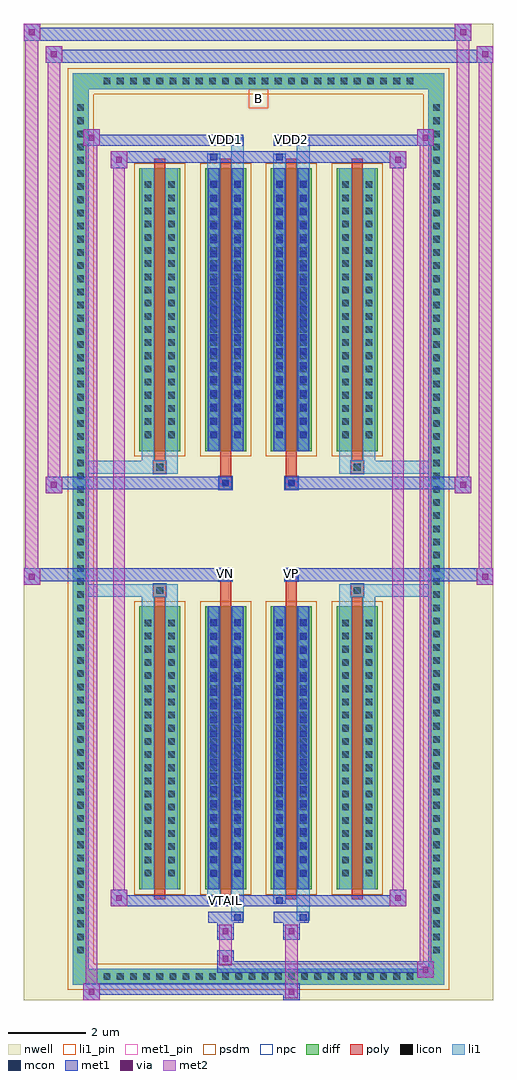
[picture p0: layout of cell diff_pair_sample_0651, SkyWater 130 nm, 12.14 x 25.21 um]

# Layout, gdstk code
import gdstk
lib = gdstk.Library(unit=1e-6, precision=5e-09)
def R(c, l, rs):  # rectangles x0, y0, x1, y1
    for r in rs: c.add(gdstk.rectangle(r[:2], r[2:], *l))
def A(c, l, x, y, w, h, nx, ny, dx, dy):  # array of equal rectangles
    R(c, l, [(x+i*dx, y+j*dy, x+i*dx+w, y+j*dy+h) for i in range(nx) for j in range(ny)])
def P(c, l, *ps):  # polygons
    for p in ps: c.add(gdstk.Polygon(p, *l))
nwell = (64, 20)
diff = (65, 20)
poly = (66, 20)
licon = (66, 44)
li1_pin = (67, 16)
li1 = (67, 20)
mcon = (67, 44)
met1_pin = (68, 16)
met1 = (68, 20)
via = (68, 44)
met2 = (69, 20)
psdm = (94, 20)
npc = (95, 20)

diff_pair_sample_0651 = lib.new_cell('diff_pair_sample_0651')
R(diff_pair_sample_0651, nwell, [(-6.07,-12.17,6.07,13.04), (-3.39,-10.36,-0.01,-0.82), (0.01,-10.36,3.39,-0.82), (-3.39,0.82,-0.01,10.36), (0.01,0.82,3.39,10.36)])
A(diff_pair_sample_0651, diff, -4.115, -11.77, 0.41, 0.41, 24, 2, 0.34, 23.13)
A(diff_pair_sample_0651, diff, -4.8, -11.085, 0.41, 0.41, 1, 65, 0, 0.34)
A(diff_pair_sample_0651, diff, 4.39, -11.085, 0.41, 0.41, 1, 65, 0, 0.34)
A(diff_pair_sample_0651, diff, -3.08, -9.315, 1.06, 7.31, 4, 2, 1.7, 11.32)
R(diff_pair_sample_0651, diff, [(-4.115,-11.77,4.115,-11.36), (-4.8,-11.085,-4.39,11.085), (4.39,-11.085,4.8,11.085), (-4.115,11.36,4.115,11.77)])
P(diff_pair_sample_0651, diff, [(4.8,11.77),(-4.8,11.77),(-4.8,-11.36),(-4.39,-11.36),(-4.39,11.36),(4.39,11.36),(4.39,-11.36),(-4.39,-11.36),(-4.8,-11.36),(-4.8,-11.77),(4.8,-11.77)])
A(diff_pair_sample_0651, poly, -2.69, -9.565, 0.28, 7.81, 4, 2, 1.7, 11.32)
R(diff_pair_sample_0651, poly, [(-2.715,-1.755,-2.385,-1.425), (-2.715,-1.755,-2.385,-1.425), (-0.99,-1.755,-0.71,-1.35), (0.71,-1.755,0.99,-1.35), (2.385,-1.755,2.715,-1.425), (2.385,-1.755,2.715,-1.425), (-1.015,-1.35,-0.685,-1.02), (-1.015,-1.35,-0.685,-1.02), (0.685,-1.35,1.015,-1.02), (0.685,-1.35,1.015,-1.02), (-1.015,1.02,-0.685,1.35), (-1.015,1.02,-0.685,1.35), (0.685,1.02,1.015,1.35), (0.685,1.02,1.015,1.35), (-0.99,1.35,-0.71,1.755), (0.71,1.35,0.99,1.755), (-2.715,1.425,-2.385,1.755), (-2.715,1.425,-2.385,1.755), (2.385,1.425,2.715,1.755), (2.385,1.425,2.715,1.755)])
A(diff_pair_sample_0651, licon, -3.995, -11.65, 0.17, 0.17, 24, 2, 0.34, 23.13)
A(diff_pair_sample_0651, licon, -4.68, -10.965, 0.17, 0.17, 1, 65, 0, 0.34)
A(diff_pair_sample_0651, licon, 4.51, -10.965, 0.17, 0.17, 1, 65, 0, 0.34)
A(diff_pair_sample_0651, licon, -2.94, -8.975, 0.17, 0.17, 1, 20, 0, 0.34)
A(diff_pair_sample_0651, licon, -2.33, -8.975, 0.17, 0.17, 1, 20, 0, 0.34)
A(diff_pair_sample_0651, licon, -1.24, -8.975, 0.17, 0.17, 1, 20, 0, 0.34)
A(diff_pair_sample_0651, licon, -0.63, -8.975, 0.17, 0.17, 1, 20, 0, 0.34)
A(diff_pair_sample_0651, licon, 0.46, -8.975, 0.17, 0.17, 1, 20, 0, 0.34)
A(diff_pair_sample_0651, licon, 1.07, -8.975, 0.17, 0.17, 1, 20, 0, 0.34)
A(diff_pair_sample_0651, licon, 2.16, -8.975, 0.17, 0.17, 1, 20, 0, 0.34)
A(diff_pair_sample_0651, licon, 2.77, -8.975, 0.17, 0.17, 1, 20, 0, 0.34)
A(diff_pair_sample_0651, licon, -2.94, 2.345, 0.17, 0.17, 1, 20, 0, 0.34)
A(diff_pair_sample_0651, licon, -2.33, 2.345, 0.17, 0.17, 1, 20, 0, 0.34)
A(diff_pair_sample_0651, licon, -1.24, 2.345, 0.17, 0.17, 1, 20, 0, 0.34)
A(diff_pair_sample_0651, licon, -0.63, 2.345, 0.17, 0.17, 1, 20, 0, 0.34)
A(diff_pair_sample_0651, licon, 0.46, 2.345, 0.17, 0.17, 1, 20, 0, 0.34)
A(diff_pair_sample_0651, licon, 1.07, 2.345, 0.17, 0.17, 1, 20, 0, 0.34)
A(diff_pair_sample_0651, licon, 2.16, 2.345, 0.17, 0.17, 1, 20, 0, 0.34)
A(diff_pair_sample_0651, licon, 2.77, 2.345, 0.17, 0.17, 1, 20, 0, 0.34)
R(diff_pair_sample_0651, licon, [(-2.635,-1.675,-2.465,-1.505), (2.465,-1.675,2.635,-1.505), (-0.935,-1.27,-0.765,-1.1), (0.765,-1.27,0.935,-1.1), (-0.935,1.1,-0.765,1.27), (0.765,1.1,0.935,1.27), (-2.635,1.505,-2.465,1.675), (2.465,1.505,2.635,1.675)])
R(diff_pair_sample_0651, li1_pin, [(-0.25,10.86,0.25,11.36)])
A(diff_pair_sample_0651, li1, -4.075, -11.73, 0.33, 0.33, 24, 2, 0.34, 23.13)
A(diff_pair_sample_0651, li1, -4.76, -11.045, 0.33, 0.33, 1, 65, 0, 0.34)
A(diff_pair_sample_0651, li1, 4.43, -11.045, 0.33, 0.33, 1, 65, 0, 0.34)
A(diff_pair_sample_0651, li1, -3.02, -9.055, 0.33, 0.33, 1, 20, 0, 0.34)
A(diff_pair_sample_0651, li1, -2.41, -9.055, 0.33, 0.33, 1, 20, 0, 0.34)
A(diff_pair_sample_0651, li1, -1.32, -9.055, 0.33, 0.33, 1, 20, 0, 0.34)
A(diff_pair_sample_0651, li1, -0.71, -9.055, 0.33, 0.33, 1, 20, 0, 0.34)
A(diff_pair_sample_0651, li1, 0.38, -9.055, 0.33, 0.33, 1, 20, 0, 0.34)
A(diff_pair_sample_0651, li1, 0.99, -9.055, 0.33, 0.33, 1, 20, 0, 0.34)
A(diff_pair_sample_0651, li1, 2.08, -9.055, 0.33, 0.33, 1, 20, 0, 0.34)
A(diff_pair_sample_0651, li1, 2.69, -9.055, 0.33, 0.33, 1, 20, 0, 0.34)
A(diff_pair_sample_0651, li1, -1.24, -8.985, 0.17, 0.17, 1, 19, 0, 0.36)
A(diff_pair_sample_0651, li1, -0.63, -8.985, 0.17, 0.17, 1, 19, 0, 0.36)
A(diff_pair_sample_0651, li1, 0.46, -8.985, 0.17, 0.17, 1, 19, 0, 0.36)
A(diff_pair_sample_0651, li1, 1.07, -8.985, 0.17, 0.17, 1, 19, 0, 0.36)
A(diff_pair_sample_0651, li1, -3.02, 2.265, 0.33, 0.33, 1, 20, 0, 0.34)
A(diff_pair_sample_0651, li1, -2.41, 2.265, 0.33, 0.33, 1, 20, 0, 0.34)
A(diff_pair_sample_0651, li1, -1.32, 2.265, 0.33, 0.33, 1, 20, 0, 0.34)
A(diff_pair_sample_0651, li1, -0.71, 2.265, 0.33, 0.33, 1, 20, 0, 0.34)
A(diff_pair_sample_0651, li1, 0.38, 2.265, 0.33, 0.33, 1, 20, 0, 0.34)
A(diff_pair_sample_0651, li1, 0.99, 2.265, 0.33, 0.33, 1, 20, 0, 0.34)
A(diff_pair_sample_0651, li1, 2.08, 2.265, 0.33, 0.33, 1, 20, 0, 0.34)
A(diff_pair_sample_0651, li1, 2.69, 2.265, 0.33, 0.33, 1, 20, 0, 0.34)
A(diff_pair_sample_0651, li1, -1.24, 2.335, 0.17, 0.17, 1, 19, 0, 0.36)
A(diff_pair_sample_0651, li1, -0.63, 2.335, 0.17, 0.17, 1, 19, 0, 0.36)
A(diff_pair_sample_0651, li1, 0.46, 2.335, 0.17, 0.17, 1, 19, 0, 0.36)
A(diff_pair_sample_0651, li1, 1.07, 2.335, 0.17, 0.17, 1, 19, 0, 0.36)
R(diff_pair_sample_0651, li1, [(-4.8,-11.77,-4.39,-11.36), (-4.8,-11.77,-4.39,-11.36), (-4.39,-11.77,4.39,-11.36), (4.39,-11.77,4.8,-11.36), (4.39,-11.77,4.8,-11.36), (-4.8,-11.36,-4.39,11.36), (4.39,-11.36,4.8,11.36), (-0.71,-10.12,-0.38,-9.315), (-0.63,-10.12,-0.46,-9.95), (0.99,-10.12,1.32,-9.315), (1.07,-10.12,1.24,-9.95), (-1.32,-9.69,-0.99,-9.315), (-1.24,-9.69,-1.07,-9.52), (0.38,-9.69,0.71,-9.315), (0.46,-9.69,0.63,-9.52), (-3.02,-9.315,-2.69,-2.005), (-2.41,-9.315,-2.08,-2.005), (-1.32,-9.315,-0.99,-2.005), (-0.71,-9.315,-0.38,-2.005), (0.38,-9.315,0.71,-2.005), (0.99,-9.315,1.32,-2.005), (2.08,-9.315,2.41,-2.005), (2.69,-9.315,3.02,-2.005), (-1.24,-8.985,-1.07,-2.335), (-0.63,-8.985,-0.46,-2.335), (0.46,-8.985,0.63,-2.335), (1.07,-8.985,1.24,-2.335), (-3.02,-2.005,-2.69,-1.425), (-2.41,-2.005,-2.08,-1.425), (2.08,-2.005,2.41,-1.425), (2.69,-2.005,3.02,-1.425), (-4.8,-1.755,-2.715,-1.425), (-3.02,-1.755,-2.715,-1.425), (-2.715,-1.755,-2.385,-1.425), (-2.385,-1.755,-2.08,-1.425), (2.08,-1.755,2.385,-1.425), (2.385,-1.755,2.715,-1.425), (2.385,-1.755,4.8,-1.425), (2.715,-1.755,3.02,-1.425), (-1.015,-1.35,-0.685,-1.02), (0.685,-1.35,1.015,-1.02), (-1.015,1.02,-0.685,1.35), (0.685,1.02,1.015,1.35), (-4.8,1.425,-2.715,1.755), (-3.02,1.425,-2.715,1.755), (-3.02,1.425,-2.69,2.005), (-2.715,1.425,-2.385,1.755), (-2.41,1.425,-2.08,2.005), (-2.385,1.425,-2.08,1.755), (2.08,1.425,2.385,1.755), (2.08,1.425,2.41,2.005), (2.385,1.425,2.715,1.755), (2.385,1.425,4.8,1.755), (2.69,1.425,3.02,2.005), (2.715,1.425,3.02,1.755), (-3.02,2.005,-2.69,9.315), (-2.41,2.005,-2.08,9.315), (-1.32,2.005,-0.99,9.315), (-0.71,2.005,-0.38,9.315), (0.38,2.005,0.71,9.315), (0.99,2.005,1.32,9.315), (2.08,2.005,2.41,9.315), (2.69,2.005,3.02,9.315), (-1.24,2.335,-1.07,8.985), (-0.63,2.335,-0.46,8.985), (0.46,2.335,0.63,8.985), (1.07,2.335,1.24,8.985), (-1.32,9.315,-0.99,9.69), (-0.71,9.315,-0.38,10.12), (0.38,9.315,0.71,9.69), (0.99,9.315,1.32,10.12), (-1.24,9.52,-1.07,9.69), (0.46,9.52,0.63,9.69), (-0.63,9.95,-0.46,10.12), (1.07,9.95,1.24,10.12), (-4.8,11.36,-4.39,11.77), (-4.8,11.36,-4.39,11.77), (-4.39,11.36,4.39,11.77), (4.39,11.36,4.8,11.77), (4.39,11.36,4.8,11.77)])
A(diff_pair_sample_0651, mcon, -1.24, -8.985, 0.17, 0.17, 1, 19, 0, 0.36)
A(diff_pair_sample_0651, mcon, -0.63, -8.985, 0.17, 0.17, 1, 19, 0, 0.36)
A(diff_pair_sample_0651, mcon, 0.46, -8.985, 0.17, 0.17, 1, 19, 0, 0.36)
A(diff_pair_sample_0651, mcon, 1.07, -8.985, 0.17, 0.17, 1, 19, 0, 0.36)
A(diff_pair_sample_0651, mcon, -1.24, 2.335, 0.17, 0.17, 1, 19, 0, 0.36)
A(diff_pair_sample_0651, mcon, -0.63, 2.335, 0.17, 0.17, 1, 19, 0, 0.36)
A(diff_pair_sample_0651, mcon, 0.46, 2.335, 0.17, 0.17, 1, 19, 0, 0.36)
A(diff_pair_sample_0651, mcon, 1.07, 2.335, 0.17, 0.17, 1, 19, 0, 0.36)
R(diff_pair_sample_0651, mcon, [(-0.63,-10.12,-0.46,-9.95), (1.07,-10.12,1.24,-9.95), (-1.24,-9.69,-1.07,-9.52), (0.46,-9.69,0.63,-9.52), (-0.935,-1.27,-0.765,-1.1), (0.765,-1.27,0.935,-1.1), (-0.935,1.1,-0.765,1.27), (0.765,1.1,0.935,1.27), (-1.24,9.52,-1.07,9.69), (0.46,9.52,0.63,9.69), (-0.63,9.95,-0.46,10.12), (1.07,9.95,1.24,10.12)])
R(diff_pair_sample_0651, met1_pin, [(-0.985,-9.73,-0.715,-9.46), (-0.985,-1.29,-0.715,-1.02), (0.715,-1.29,0.985,-1.02), (-0.985,9.91,-0.715,10.18), (0.715,9.91,0.985,10.18)])
A(diff_pair_sample_0651, met1, -1.3, -9.045, 0.29, 0.29, 1, 19, 0, 0.36)
A(diff_pair_sample_0651, met1, -0.69, -9.045, 0.29, 0.29, 1, 19, 0, 0.36)
A(diff_pair_sample_0651, met1, 0.4, -9.045, 0.29, 0.29, 1, 19, 0, 0.36)
A(diff_pair_sample_0651, met1, 1.01, -9.045, 0.29, 0.29, 1, 19, 0, 0.36)
A(diff_pair_sample_0651, met1, -1.3, 2.275, 0.29, 0.29, 1, 19, 0, 0.36)
A(diff_pair_sample_0651, met1, -0.69, 2.275, 0.29, 0.29, 1, 19, 0, 0.36)
A(diff_pair_sample_0651, met1, 0.4, 2.275, 0.29, 0.29, 1, 19, 0, 0.36)
A(diff_pair_sample_0651, met1, 1.01, 2.275, 0.29, 0.29, 1, 19, 0, 0.36)
R(diff_pair_sample_0651, met1, [(-4.53,-12.17,-4.1,-11.74), (0.635,-12.17,1.065,-11.74), (-4.53,-12.03,1.065,-11.74), (4.1,-11.6,4.53,-11.17), (-1.065,-11.46,4.53,-11.17), (-1.065,-11.32,-0.635,-10.89), (-1.065,-10.61,-0.635,-10.18), (0.635,-10.61,1.065,-10.18), (-1.3,-10.18,-0.4,-9.89), (-0.69,-10.18,-0.4,-9.89), (0.4,-10.18,1.3,-9.89), (1.01,-10.18,1.3,-9.89), (-3.82,-9.75,-3.39,-9.32), (-3.82,-9.75,-1.3,-9.46), (-1.3,-9.75,-1.01,-9.46), (-1.3,-9.75,-0.4,-9.46), (-0.4,-9.75,0.4,-9.46), (0.4,-9.75,0.69,-9.46), (0.4,-9.75,1.3,-9.46), (1.3,-9.75,3.82,-9.46), (3.39,-9.75,3.82,-9.32), (-1.3,-9.315,-1.01,-2.005), (-0.69,-9.315,-0.4,-2.005), (0.4,-9.315,0.69,-2.005), (1.01,-9.315,1.3,-2.005), (-6.07,-1.45,-5.64,-1.02), (5.64,-1.45,6.07,-1.02), (-6.07,-1.35,-0.685,-1.02), (-1.015,-1.35,-0.685,-1.02), (0.685,-1.35,1.015,-1.02), (0.685,-1.35,6.07,-1.02), (-0.995,-1.33,-0.705,-1.04), (0.705,-1.33,0.995,-1.04), (-5.5,0.92,-5.07,1.35), (5.07,0.92,5.5,1.35), (-5.5,1.02,-1.015,1.35), (-1.015,1.02,-0.685,1.35), (0.685,1.02,1.015,1.35), (1.015,1.02,5.5,1.35), (-0.995,1.04,-0.705,1.33), (0.705,1.04,0.995,1.33), (-1.3,2.005,-1.01,9.315), (-0.69,2.005,-0.4,9.315), (0.4,2.005,0.69,9.315), (1.01,2.005,1.3,9.315), (-3.82,9.32,-3.39,9.75), (3.39,9.32,3.82,9.75), (-3.82,9.46,-1.3,9.75), (-1.3,9.46,-1.01,9.75), (-1.3,9.46,-0.4,9.75), (-0.4,9.46,0.4,9.75), (0.4,9.46,0.69,9.75), (0.4,9.46,1.3,9.75), (1.3,9.46,3.82,9.75), (-4.53,9.89,-4.1,10.32), (-4.53,9.89,-1.3,10.18), (-1.3,9.89,-0.4,10.18), (-0.69,9.89,-0.4,10.18), (0.4,9.89,1.3,10.18), (1.01,9.89,1.3,10.18), (1.3,9.89,4.53,10.18), (4.1,9.89,4.53,10.32), (-5.5,12.04,-5.07,12.47), (-5.5,12.04,-3.39,12.37), (-3.39,12.04,3.39,12.37), (3.39,12.04,6.07,12.37), (5.64,12.04,6.07,12.47), (-6.07,12.61,-5.64,13.04), (-6.07,12.61,-3.39,12.94), (-3.39,12.61,3.39,12.94), (3.39,12.61,5.5,12.94), (5.07,12.61,5.5,13.04)])
R(diff_pair_sample_0651, via, [(-4.39,-12.03,-4.24,-11.88), (0.775,-12.03,0.925,-11.88), (4.24,-11.46,4.39,-11.31), (-0.925,-11.18,-0.775,-11.03), (-0.925,-10.47,-0.775,-10.32), (0.775,-10.47,0.925,-10.32), (-3.68,-9.61,-3.53,-9.46), (3.53,-9.61,3.68,-9.46), (-5.93,-1.31,-5.78,-1.16), (5.78,-1.31,5.93,-1.16), (-5.36,1.06,-5.21,1.21), (5.21,1.06,5.36,1.21), (-3.68,9.46,-3.53,9.61), (3.53,9.46,3.68,9.61), (-4.39,10.03,-4.24,10.18), (4.24,10.03,4.39,10.18), (-5.36,12.18,-5.21,12.33), (5.78,12.18,5.93,12.33), (-5.93,12.75,-5.78,12.9), (5.21,12.75,5.36,12.9)])
R(diff_pair_sample_0651, met2, [(-4.53,-12.17,-4.1,-11.74), (-4.46,-12.17,-4.17,10.32), (-4.17,-12.17,-4.1,-11.74), (-4.48,-12.12,-4.15,-11.79), (0.685,-12.12,1.015,-11.79), (0.685,-11.79,1.015,-10.56), (4.1,-11.6,4.53,-11.17), (4.17,-11.6,4.46,10.32), (4.46,-11.6,4.53,-11.17), (4.15,-11.55,4.48,-11.22), (-1.015,-11.27,-0.685,-10.94), (-1.015,-10.94,-0.685,-10.56), (-1.015,-10.56,-0.685,-10.23), (0.685,-10.56,1.015,-10.23), (-3.82,-9.75,-3.39,-9.32), (-3.75,-9.75,-3.46,9.75), (-3.46,-9.75,-3.39,-9.32), (3.39,-9.75,3.82,-9.32), (3.46,-9.75,3.75,9.75), (3.75,-9.75,3.82,-9.32), (-3.77,-9.7,-3.44,-9.37), (3.44,-9.7,3.77,-9.37), (-6.07,-1.45,-5.64,-1.02), (-6.02,-1.45,-5.69,13.04), (-5.69,-1.45,-5.64,-1.02), (5.64,-1.45,6.07,-1.02), (5.69,-1.45,6.02,12.47), (6.02,-1.45,6.07,-1.02), (-6.02,-1.4,-5.69,-1.07), (5.69,-1.4,6.02,-1.07), (-5.5,0.92,-5.07,1.35), (-5.45,0.92,-5.12,12.47), (-5.12,0.92,-5.07,1.35), (5.07,0.92,5.5,1.35), (5.12,0.92,5.45,13.04), (5.45,0.92,5.5,1.35), (-5.45,0.97,-5.12,1.3), (5.12,0.97,5.45,1.3), (-3.82,9.32,-3.39,9.75), (-3.46,9.32,-3.39,9.75), (3.39,9.32,3.82,9.75), (3.75,9.32,3.82,9.75), (-3.77,9.37,-3.44,9.7), (3.44,9.37,3.77,9.7), (-4.53,9.89,-4.1,10.32), (-4.17,9.89,-4.1,10.32), (4.1,9.89,4.53,10.32), (4.46,9.89,4.53,10.32), (-4.48,9.94,-4.15,10.27), (4.15,9.94,4.48,10.27), (-5.5,12.04,-5.07,12.47), (-5.12,12.04,-5.07,12.47), (5.64,12.04,6.07,12.47), (6.02,12.04,6.07,12.47), (-5.45,12.09,-5.12,12.42), (5.69,12.09,6.02,12.42), (-6.07,12.61,-5.64,13.04), (-5.69,12.61,-5.64,13.04), (5.07,12.61,5.5,13.04), (5.45,12.61,5.5,13.04), (-6.02,12.66,-5.69,12.99), (5.12,12.66,5.45,12.99)])
A(diff_pair_sample_0651, psdm, -3.21, -9.445, 1.32, 7.57, 4, 2, 1.7, 11.32)
P(diff_pair_sample_0651, psdm, [(4.93,11.9),(-4.93,11.9),(-4.93,-11.23),(-4.26,-11.23),(-4.26,11.23),(4.26,11.23),(4.26,-11.23),(-4.26,-11.23),(-4.93,-11.23),(-4.93,-11.9),(4.93,-11.9)])
R(diff_pair_sample_0651, npc, [(-2.735,-1.775,-2.365,-1.405), (2.365,-1.775,2.735,-1.405), (-1.035,-1.37,-0.665,-1), (0.665,-1.37,1.035,-1), (-1.035,1,-0.665,1.37), (0.665,1,1.035,1.37), (-2.735,1.405,-2.365,1.775), (2.365,1.405,2.735,1.775)])
diff_pair_sample_0651.add(gdstk.Label('VTAIL', (-0.85,-9.595), layer=68, texttype=5))
diff_pair_sample_0651.add(gdstk.Label('VN', (-0.85,-1.155), layer=68, texttype=5))
diff_pair_sample_0651.add(gdstk.Label('VP', (0.85,-1.155), layer=68, texttype=5))
diff_pair_sample_0651.add(gdstk.Label('B', (0,11.11), layer=67, texttype=5))
diff_pair_sample_0651.add(gdstk.Label('VDD2', (0.85,10.045), layer=68, texttype=5))
diff_pair_sample_0651.add(gdstk.Label('VDD1', (-0.85,10.045), layer=68, texttype=5))

lib.write_gds('diff_pair_sample_0651.gds')
